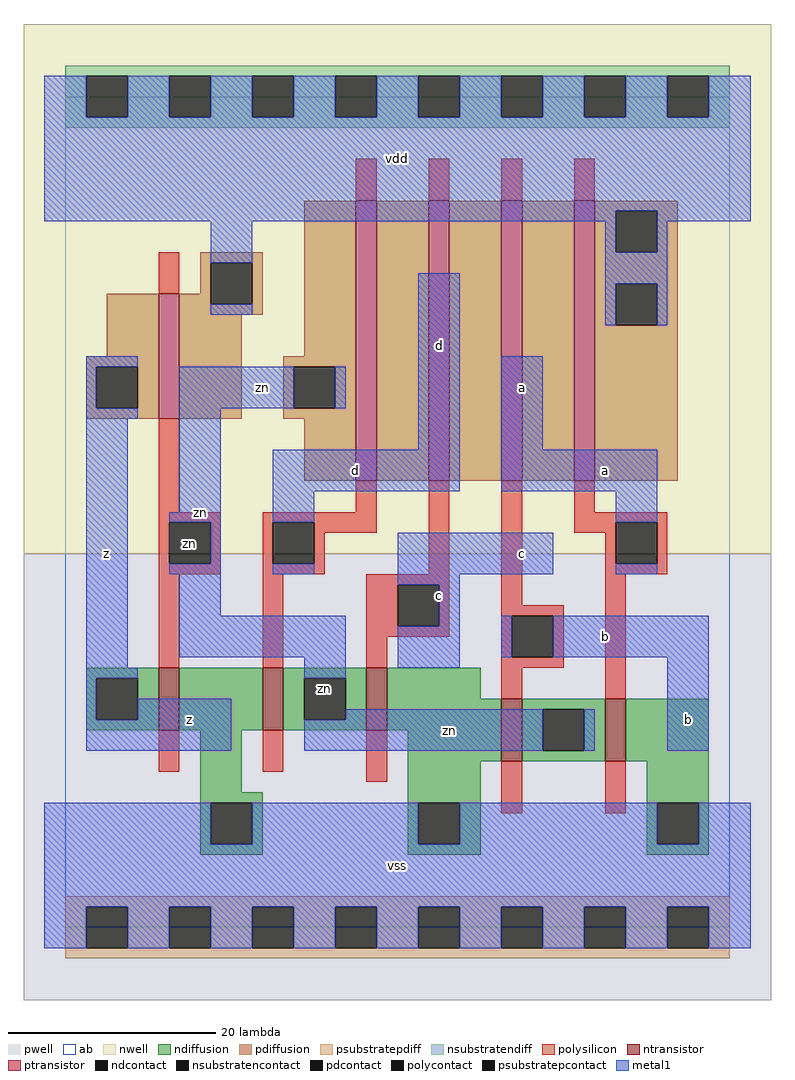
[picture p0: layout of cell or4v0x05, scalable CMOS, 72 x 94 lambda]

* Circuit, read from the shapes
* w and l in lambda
.subckt or4v0x05 a b c d vdd vss z zn
M1 vss zn z vss nfet w=6 l=2
M2 zn d vss vss nfet w=6 l=2
M3 vss c zn vss nfet w=6 l=2
M4 zn b vss vss nfet w=6 l=2
M5 vss a zn vss nfet w=6 l=2
M6 vdd zn z vdd pfet w=12 l=2
M7 n1 d zn vdd pfet w=27 l=2
M8 n2 c n1 vdd pfet w=27 l=2
M9 n3 b n2 vdd pfet w=27 l=2
M10 vdd a n3 vdd pfet w=27 l=2
.ends

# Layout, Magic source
magic
tech scmos
<< ab >>
rect 0 0 64 80
<< pwell >>
rect -4 -7 68 36
<< nwell >>
rect -4 36 68 87
<< polysilicon >>
rect 28 70 30 74
rect 35 70 37 74
rect 42 70 44 74
rect 49 70 51 74
rect 9 61 11 65
rect 9 40 11 49
rect 28 40 30 43
rect 9 39 15 40
rect 9 35 10 39
rect 14 35 15 39
rect 9 34 15 35
rect 19 39 30 40
rect 19 35 20 39
rect 24 38 30 39
rect 24 35 25 38
rect 19 34 25 35
rect 35 34 37 43
rect 9 25 11 34
rect 19 25 21 34
rect 29 33 37 34
rect 29 29 32 33
rect 36 29 37 33
rect 29 28 37 29
rect 42 31 44 43
rect 49 40 51 43
rect 49 39 58 40
rect 49 38 53 39
rect 52 35 53 38
rect 57 35 58 39
rect 52 34 58 35
rect 42 30 48 31
rect 29 25 31 28
rect 42 26 43 30
rect 47 26 48 30
rect 42 25 48 26
rect 42 22 44 25
rect 52 22 54 34
rect 9 15 11 19
rect 19 15 21 19
rect 29 14 31 19
rect 42 11 44 16
rect 52 11 54 16
<< ndiffusion >>
rect 2 24 9 25
rect 2 20 3 24
rect 7 20 9 24
rect 2 19 9 20
rect 11 19 19 25
rect 21 24 29 25
rect 21 20 23 24
rect 27 20 29 24
rect 21 19 29 20
rect 31 22 40 25
rect 31 19 42 22
rect 13 13 17 19
rect 33 16 42 19
rect 44 21 52 22
rect 44 17 46 21
rect 50 17 52 21
rect 44 16 52 17
rect 54 16 62 22
rect 13 12 19 13
rect 13 8 14 12
rect 18 8 19 12
rect 13 7 19 8
rect 33 12 40 16
rect 33 8 34 12
rect 38 8 40 12
rect 56 12 62 16
rect 33 7 40 8
rect 56 8 57 12
rect 61 8 62 12
rect 56 7 62 8
<< pdiffusion >>
rect 13 64 19 65
rect 13 61 14 64
rect 4 55 9 61
rect 2 54 9 55
rect 2 50 3 54
rect 7 50 9 54
rect 2 49 9 50
rect 11 60 14 61
rect 18 60 19 64
rect 11 59 19 60
rect 11 49 17 59
rect 23 55 28 70
rect 21 54 28 55
rect 21 50 22 54
rect 26 50 28 54
rect 21 49 28 50
rect 23 43 28 49
rect 30 43 35 70
rect 37 43 42 70
rect 44 43 49 70
rect 51 69 59 70
rect 51 65 53 69
rect 57 65 59 69
rect 51 62 59 65
rect 51 58 53 62
rect 57 58 59 62
rect 51 43 59 58
<< metal1 >>
rect -2 78 2 82
rect 6 78 10 82
rect 14 78 18 82
rect 22 78 26 82
rect 30 78 34 82
rect 38 78 42 82
rect 46 78 50 82
rect 54 78 58 82
rect 62 78 66 82
rect -2 69 66 78
rect -2 68 53 69
rect 14 64 18 68
rect 52 65 53 68
rect 57 68 66 69
rect 57 65 58 68
rect 14 59 18 60
rect 2 54 7 55
rect 2 50 3 54
rect 2 49 7 50
rect 11 50 22 54
rect 26 50 27 54
rect 2 25 6 49
rect 11 40 15 50
rect 34 46 38 63
rect 52 62 58 65
rect 52 58 53 62
rect 57 58 58 62
rect 10 39 15 40
rect 14 35 15 39
rect 10 34 15 35
rect 20 42 38 46
rect 42 46 46 55
rect 42 42 57 46
rect 20 39 24 42
rect 53 39 57 42
rect 20 34 24 35
rect 32 34 47 38
rect 53 34 57 35
rect 11 30 15 34
rect 32 33 38 34
rect 11 26 27 30
rect 2 24 7 25
rect 2 20 3 24
rect 23 24 27 26
rect 36 29 38 33
rect 32 25 38 29
rect 42 26 43 30
rect 47 26 62 30
rect 7 20 16 22
rect 2 17 16 20
rect 27 20 46 21
rect 23 17 46 20
rect 50 17 51 21
rect 58 17 62 26
rect -2 8 14 12
rect 18 8 34 12
rect 38 8 57 12
rect 61 8 66 12
rect -2 2 66 8
rect -2 -2 2 2
rect 6 -2 10 2
rect 14 -2 18 2
rect 22 -2 26 2
rect 30 -2 34 2
rect 38 -2 42 2
rect 46 -2 50 2
rect 54 -2 58 2
rect 62 -2 66 2
<< ntransistor >>
rect 9 19 11 25
rect 19 19 21 25
rect 29 19 31 25
rect 42 16 44 22
rect 52 16 54 22
<< ptransistor >>
rect 9 49 11 61
rect 28 43 30 70
rect 35 43 37 70
rect 42 43 44 70
rect 49 43 51 70
<< polycontact >>
rect 10 35 14 39
rect 20 35 24 39
rect 32 29 36 33
rect 53 35 57 39
rect 43 26 47 30
<< ndcontact >>
rect 3 20 7 24
rect 23 20 27 24
rect 46 17 50 21
rect 14 8 18 12
rect 34 8 38 12
rect 57 8 61 12
<< pdcontact >>
rect 3 50 7 54
rect 14 60 18 64
rect 22 50 26 54
rect 53 65 57 69
rect 53 58 57 62
<< psubstratepcontact >>
rect 2 -2 6 2
rect 10 -2 14 2
rect 18 -2 22 2
rect 26 -2 30 2
rect 34 -2 38 2
rect 42 -2 46 2
rect 50 -2 54 2
rect 58 -2 62 2
<< nsubstratencontact >>
rect 2 78 6 82
rect 10 78 14 82
rect 18 78 22 82
rect 26 78 30 82
rect 34 78 38 82
rect 42 78 46 82
rect 50 78 54 82
rect 58 78 62 82
<< psubstratepdiff >>
rect 0 2 64 3
rect 0 -2 2 2
rect 6 -2 10 2
rect 14 -2 18 2
rect 22 -2 26 2
rect 30 -2 34 2
rect 38 -2 42 2
rect 46 -2 50 2
rect 54 -2 58 2
rect 62 -2 64 2
rect 0 -3 64 -2
<< nsubstratendiff >>
rect 0 82 64 83
rect 0 78 2 82
rect 6 78 10 82
rect 14 78 18 82
rect 22 78 26 82
rect 30 78 34 82
rect 38 78 42 82
rect 46 78 50 82
rect 54 78 58 82
rect 62 78 64 82
rect 0 77 64 78
<< labels >>
rlabel polycontact 12 37 12 37 6 zn
rlabel metal1 4 36 4 36 6 z
rlabel metal1 12 20 12 20 6 z
rlabel metal1 13 40 13 40 6 zn
rlabel metal1 32 6 32 6 6 vss
rlabel ndcontact 25 23 25 23 6 zn
rlabel metal1 36 32 36 32 6 c
rlabel metal1 28 44 28 44 6 d
rlabel metal1 19 52 19 52 6 zn
rlabel metal1 36 56 36 56 6 d
rlabel metal1 32 74 32 74 6 vdd
rlabel metal1 37 19 37 19 6 zn
rlabel metal1 44 36 44 36 6 c
rlabel metal1 44 52 44 52 6 a
rlabel metal1 52 28 52 28 6 b
rlabel metal1 60 20 60 20 6 b
rlabel metal1 52 44 52 44 6 a
<< end >>
